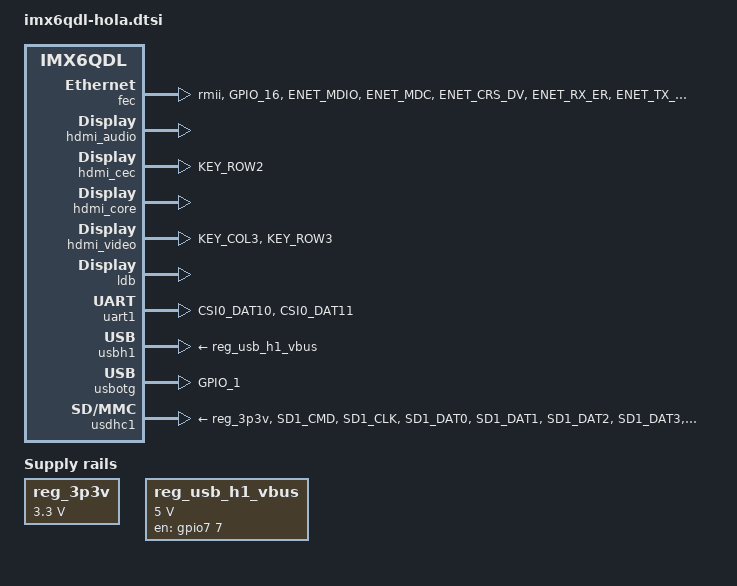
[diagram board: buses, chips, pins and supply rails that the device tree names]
/*
 * Copyright 2014 starterkit.ru
 *
 * The code contained herein is licensed under the GNU General Public
 * License V2.
 */

/ {
	aliases {
		mxcfb0 = &mxcfb1;
		mxcfb1 = &mxcfb2;
	};

	regulators {
		compatible = "simple-bus";

		reg_3p3v: 3p3v {
			compatible = "regulator-fixed";
			regulator-name = "3P3V";
			regulator-min-microvolt = <3300000>;
			regulator-max-microvolt = <3300000>;
			regulator-always-on;
		};
		
		reg_usb_h1_vbus: usb_h1_vbus {
			compatible = "regulator-fixed";
			regulator-name = "usb_h1_vbus";
			regulator-min-microvolt = <5000000>;
			regulator-max-microvolt = <5000000>;
			gpio = <&gpio7 7 0>;
			enable-active-high;
		};
	};

	mxcfb1: fb@0 {
		compatible = "fsl,mxc_sdc_fb";
		disp_dev = "hdmi";
		interface_pix_fmt = "RGB24";
		mode_str = "1280x720M@60";
		default_bpp = <16>;
		int_clk = <0>;
		late_init = <0>;
		status = "disabled";
	};

	mxcfb2: fb@1 {
		compatible = "fsl,mxc_sdc_fb";
		disp_dev = "ldb";
		interface_pix_fmt = "RGB24";
		mode_str ="LDB-XGA";
		default_bpp = <16>;
		int_clk = <0>;
		late_init = <0>;
		status = "disabled";
	};

	sound-hdmi {
		compatible = "fsl,imx6q-audio-hdmi",
			     "fsl,imx-audio-hdmi";
		model = "imx-audio-hdmi";
		hdmi-controller = <&hdmi_audio>;
	};

	v4l2_out {
		compatible = "fsl,mxc_v4l2_output";
		status = "okay";
	};
};

&cpu0 {
	arm-supply = <&reg_arm>;
	soc-supply = <&reg_soc>;
	pu-supply = <&reg_pu>;
};

&fec {
	pinctrl-names = "default";
	pinctrl-0 = <&pinctrl_enet_hola>;
	phy-mode = "rmii";
	phy-reset-gpios = <&gpio1 23 0>;
	status = "okay";
};

&gpc {
	fsl,cpu_pupscr_sw2iso = <0xf>;
	fsl,cpu_pupscr_sw = <0xf>;
	fsl,cpu_pdnscr_iso2sw = <0x1>;
	fsl,cpu_pdnscr_iso = <0x1>;
	fsl,ldo-bypass = <0>;
	fsl,wdog-reset = <1>;
	pu-supply = <&reg_pu>;
};

&gpu {
	pu-supply = <&reg_pu>;
};

&hdmi_audio {
	status = "okay";
};

&hdmi_cec {
	pinctrl-names = "default";
	pinctrl-0 = <&pinctrl_hdmi_cec_hola>;
	status = "okay";
};

&hdmi_core {
	ipu_id = <0>;
	disp_id = <1>;
	status = "okay";
};

&hdmi_video {
	pinctrl-names = "default";
	pinctrl-0 = <&pinctrl_hdmi_hdcp_hola>;
	fsl,phy_reg_vlev = <0x0294>;
	fsl,phy_reg_cksymtx = <0x800d>;
	fsl,hdcp;
	status = "okay";
};

&iomuxc {
	pinctrl-names = "default";
	pinctrl-0 = <&pinctrl_hog>;

	hog {
		pinctrl_hog: hoggrp {
			fsl,pins = <
				/* AUDIO_MCLK */
				MX6QDL_PAD_NANDF_CS2__CCM_CLKO2             0x80000000
				/* SPI1 CS */
				MX6QDL_PAD_EIM_D20__GPIO3_IO20              0x80000000
				/* SPI2 CS0 */
				MX6QDL_PAD_CSI0_DAT7__GPIO5_IO25            0x80000000
				/* SPI2 CS1 */
				MX6QDL_PAD_DISP0_DAT15__GPIO5_IO09          0x80000000
				/* USB Host power */
				MX6QDL_PAD_SD3_DAT3__GPIO7_IO07             0x80000000
				/* SD1 CD */
				MX6QDL_PAD_SD4_DAT1__GPIO2_IO09             0x80000000
				/* SD1 VSELECT */
				MX6QDL_PAD_KEY_COL1__SD1_VSELECT            0x17059
				/* PHY Reset */
				MX6QDL_PAD_ENET_REF_CLK__GPIO1_IO23         0x80000000
				/* GPIO3_19 */
				MX6QDL_PAD_EIM_D19__GPIO3_IO19              0x80000000
				/* GPIO2_14 */
				MX6QDL_PAD_SD4_DAT6__GPIO2_IO14             0x80000000
				/* GPIO2_4 */
				MX6QDL_PAD_NANDF_D4__GPIO2_IO04             0x80000000
			>;
		};
	};

	audmux {
		pinctrl_audmux_hola: audmux-hola {
			fsl,pins = <
				MX6QDL_PAD_KEY_COL0__AUD5_TXC               0x130b0
				MX6QDL_PAD_KEY_ROW0__AUD5_TXD               0x130b0
				MX6QDL_PAD_DISP0_DAT18__AUD5_TXFS           0x130b0
				MX6QDL_PAD_KEY_ROW1__AUD5_RXD               0x130b0
			>;
		};
	};

	ecspi1 {
		pinctrl_ecspi1_hola: ecspi1-hola {
			fsl,pins = <
				MX6QDL_PAD_CSI0_DAT4__ECSPI1_SCLK           0x100b1
				MX6QDL_PAD_CSI0_DAT5__ECSPI1_MOSI           0x100b1
				MX6QDL_PAD_CSI0_DAT6__ECSPI1_MISO           0x100b1
			>;
		};
	};

	ecspi4 {
		pinctrl_ecspi4_hola: ecspi4-hola {
			fsl,pins = <
				MX6QDL_PAD_EIM_D22__ECSPI4_MISO             0x100b1
				MX6QDL_PAD_EIM_D28__ECSPI4_MOSI             0x100b1
				MX6QDL_PAD_EIM_D21__ECSPI4_SCLK             0x100b1
			>;
		};
	};

	fec {
		pinctrl_enet_hola: enet-hola {
			fsl,pins = <
				MX6QDL_PAD_GPIO_16__ENET_REF_CLK            0x4001b0a8
				MX6QDL_PAD_ENET_MDIO__ENET_MDIO             0x1b0b0
				MX6QDL_PAD_ENET_MDC__ENET_MDC               0x1b0b0
				MX6QDL_PAD_ENET_CRS_DV__ENET_RX_EN          0x1b0b0
				MX6QDL_PAD_ENET_RX_ER__ENET_RX_ER           0x1b0b0
				MX6QDL_PAD_ENET_TX_EN__ENET_TX_EN           0x1b0b0
				MX6QDL_PAD_ENET_RXD0__ENET_RX_DATA0         0x1b0b0
				MX6QDL_PAD_ENET_RXD1__ENET_RX_DATA1         0x1b0b0
				MX6QDL_PAD_ENET_TXD0__ENET_TX_DATA0         0x1b0b0
				MX6QDL_PAD_ENET_TXD1__ENET_TX_DATA1         0x1b0b0
			>;
		};
	};

	flexcan2 {
		pinctrl_flexcan2_hola: flexcan2-hola {
			fsl,pins = <
				MX6QDL_PAD_KEY_COL4__FLEXCAN2_TX            0x80000000
				MX6QDL_PAD_KEY_ROW4__FLEXCAN2_RX            0x80000000
			>;
		};
	};

	hdmi_cec {
		pinctrl_hdmi_cec_hola: hdmi-cec-hola {
			fsl,pins = <
				MX6QDL_PAD_KEY_ROW2__HDMI_TX_CEC_LINE       0x1f8b0
			>;
		};
	};

	hdmi_hdcp {
		pinctrl_hdmi_hdcp_hola: hdmi-hdcp-hola {
			fsl,pins = <
				MX6QDL_PAD_KEY_COL3__HDMI_TX_DDC_SCL        0x4001b8b1
				MX6QDL_PAD_KEY_ROW3__HDMI_TX_DDC_SDA        0x4001b8b1
			>;
		};
	};

	i2c1 {
		pinctrl_i2c1_hola: i2c1-hola {
			fsl,pins = <
				MX6QDL_PAD_CSI0_DAT8__I2C1_SDA              0x4001b8b1
				MX6QDL_PAD_CSI0_DAT9__I2C1_SCL              0x4001b8b1
			>;
		};
	};

	i2c2 {
		pinctrl_i2c2_hola: i2c2-hola {
			fsl,pins = <
				MX6QDL_PAD_EIM_EB2__I2C2_SCL                0x4001b8b1
				MX6QDL_PAD_EIM_D16__I2C2_SDA                0x4001b8b1
			>;
		};
	};

	i2c3 {
		pinctrl_i2c3_hola: i2c3-hola {
			fsl,pins = <
				MX6QDL_PAD_EIM_D17__I2C3_SCL                0x4001b8b1
				MX6QDL_PAD_EIM_D18__I2C3_SDA                0x4001b8b1
			>;
		};
	};

	ipu1 {
		pinctrl_ipu1_csi_hola: ipu1-csi-hola {
			fsl,pins = <
				MX6QDL_PAD_CSI0_DAT12__IPU1_CSI0_DATA12     0x80000000
				MX6QDL_PAD_CSI0_DAT13__IPU1_CSI0_DATA13     0x80000000
				MX6QDL_PAD_CSI0_DAT14__IPU1_CSI0_DATA14     0x80000000
				MX6QDL_PAD_CSI0_DAT15__IPU1_CSI0_DATA15     0x80000000
				MX6QDL_PAD_CSI0_DAT16__IPU1_CSI0_DATA16     0x80000000
				MX6QDL_PAD_CSI0_DAT17__IPU1_CSI0_DATA17     0x80000000
				MX6QDL_PAD_CSI0_DAT18__IPU1_CSI0_DATA18     0x80000000
				MX6QDL_PAD_CSI0_DAT19__IPU1_CSI0_DATA19     0x80000000
				MX6QDL_PAD_CSI0_PIXCLK__IPU1_CSI0_PIXCLK    0x80000000
				MX6QDL_PAD_CSI0_MCLK__IPU1_CSI0_HSYNC       0x80000000
				MX6QDL_PAD_CSI0_VSYNC__IPU1_CSI0_VSYNC      0x80000000
			>;
		};
	};

	pwm4 {
		pinctrl_pwm4_hola: pwm4-hola {
			fsl,pins = <
				MX6QDL_PAD_SD4_DAT2__PWM4_OUT               0x1b0b1
			>;
		};
	};

	spdif {
		pinctrl_spdif_hola: spdif-hola {
			fsl,pins = <
				MX6QDL_PAD_GPIO_17__SPDIF_OUT               0x1b0b0
			>;
		};
	};

	uart1 {
		pinctrl_uart1_hola: uart1-hola {
			fsl,pins = <
				MX6QDL_PAD_CSI0_DAT10__UART1_TX_DATA        0x1b0b1
				MX6QDL_PAD_CSI0_DAT11__UART1_RX_DATA        0x1b0b1
			>;
		};
	};

	uart2 {
		pinctrl_uart2_hola: uart2-hola {
			fsl,pins = <
				MX6QDL_PAD_GPIO_7__UART2_TX_DATA            0x1b0b1
				MX6QDL_PAD_GPIO_8__UART2_RX_DATA            0x1b0b1
			>;
		};
	};

	usbotg {
		pinctrl_usbotg_hola: usbotg-hola {
			fsl,pins = <
				MX6QDL_PAD_GPIO_1__USB_OTG_ID               0x17059
			>;
		};
	};

	usdhc1 {
		pinctrl_usdhc1_hola: usdhc1-hola {
			fsl,pins = <
				MX6QDL_PAD_SD1_CMD__SD1_CMD                 0x17059
				MX6QDL_PAD_SD1_CLK__SD1_CLK                 0x17059
				MX6QDL_PAD_SD1_DAT0__SD1_DATA0              0x17059
				MX6QDL_PAD_SD1_DAT1__SD1_DATA1              0x17059
				MX6QDL_PAD_SD1_DAT2__SD1_DATA2              0x17059
				MX6QDL_PAD_SD1_DAT3__SD1_DATA3              0x17059
			>;
		};

		pinctrl_usdhc1_hola_100mhz: usdhc1-hola-100mhz {
			fsl,pins = <
				MX6QDL_PAD_SD1_CMD__SD1_CMD                 0x170B9
				MX6QDL_PAD_SD1_CLK__SD1_CLK                 0x170B9
				MX6QDL_PAD_SD1_DAT0__SD1_DATA0              0x170B9
				MX6QDL_PAD_SD1_DAT1__SD1_DATA1              0x170B9
				MX6QDL_PAD_SD1_DAT2__SD1_DATA2              0x170B9
				MX6QDL_PAD_SD1_DAT3__SD1_DATA3              0x170B9
			>;
		};

		pinctrl_usdhc1_hola_200mhz: usdhc1-hola-200mhz {
			fsl,pins = <
				MX6QDL_PAD_SD1_CMD__SD1_CMD                 0x170F9
				MX6QDL_PAD_SD1_CLK__SD1_CLK                 0x170F9
				MX6QDL_PAD_SD1_DAT0__SD1_DATA0              0x170F9
				MX6QDL_PAD_SD1_DAT1__SD1_DATA1              0x170F9
				MX6QDL_PAD_SD1_DAT2__SD1_DATA2              0x170F9
				MX6QDL_PAD_SD1_DAT3__SD1_DATA3              0x170F9
			>;
		};
	};

	usdhc2 {
		pinctrl_usdhc2_hola: usdhc2-hola {
			fsl,pins = <
				MX6QDL_PAD_SD2_CMD__SD2_CMD                 0x17059
				MX6QDL_PAD_SD2_CLK__SD2_CLK                 0x10059
				MX6QDL_PAD_SD2_DAT0__SD2_DATA0              0x17059
				MX6QDL_PAD_SD2_DAT1__SD2_DATA1              0x17059
				MX6QDL_PAD_SD2_DAT2__SD2_DATA2              0x17059
				MX6QDL_PAD_SD2_DAT3__SD2_DATA3              0x17059
				MX6QDL_PAD_GPIO_8__GPIO1_IO08               0x80000000
			>;
		};
	};
};

&ldb {
	ipu_id = <0>;
	disp_id = <0>;
	ext_ref = <1>;
	mode = "sep0";
	sec_ipu_id = <0>;
	sec_disp_id = <1>;
	status = "okay";
};

&uart1 {
	pinctrl-names = "default";
	pinctrl-0 = <&pinctrl_uart1_hola>;
	status = "okay";
};

&usbh1 {
	vbus-supply = <&reg_usb_h1_vbus>;
	status = "okay";
};

&usbotg {
	pinctrl-names = "default";
	pinctrl-0 = <&pinctrl_usbotg_hola>;
	disable-over-current;
	status = "okay";
};

&usdhc1 {
	pinctrl-names = "default", "state_100mhz", "state_200mhz";
	pinctrl-0 = <&pinctrl_usdhc1_hola>;
	pinctrl-1 = <&pinctrl_usdhc1_hola_100mhz>;
	pinctrl-2 = <&pinctrl_usdhc1_hola_200mhz>;
	cd-gpios = <&gpio2 9 0>;
	vmmc-supply = <&reg_3p3v>;
	keep-power-in-suspend;
	status = "okay";
};

&vpu {
	pu-supply = <&reg_pu>;
};
